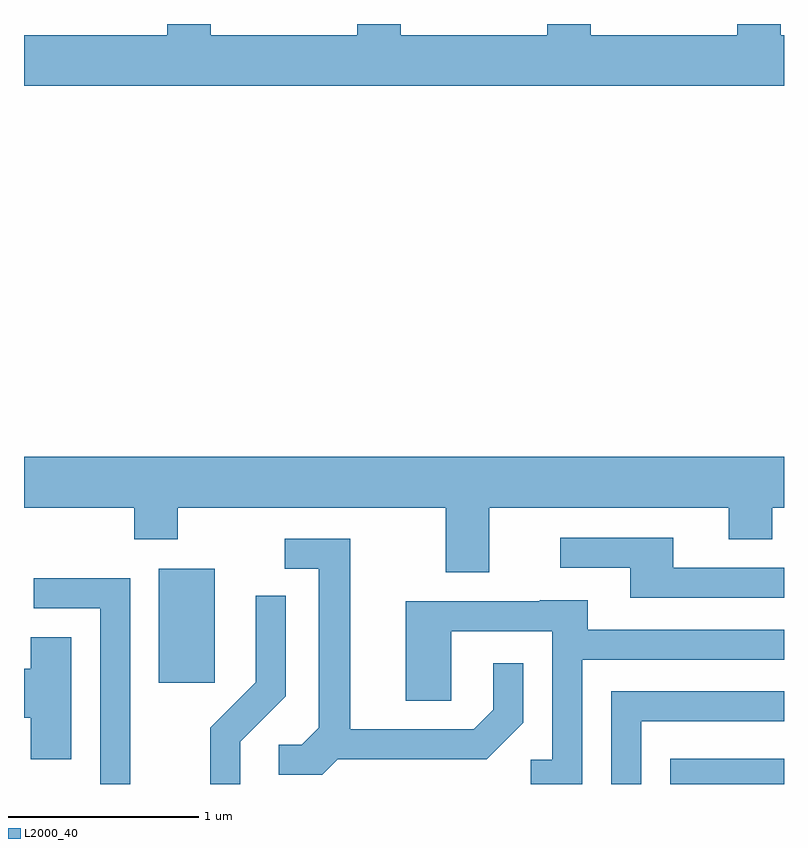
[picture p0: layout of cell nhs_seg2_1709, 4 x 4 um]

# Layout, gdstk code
import gdstk
lib = gdstk.Library(unit=1e-6, precision=1e-09)
def R(c, l, rs):  # rectangles x0, y0, x1, y1
    for r in rs: c.add(gdstk.rectangle(r[:2], r[2:], *l))
def P(c, l, *ps):  # polygons
    for p in ps: c.add(gdstk.Polygon(p, *l))
L2000_40 = (2000, 40)

nhs_seg2_1709 = lib.new_cell('nhs_seg2_1709')
R(nhs_seg2_1709, L2000_40, [(239.011,995.802,239.611,995.934), (236.321,996.336,236.614,996.934)])
P(nhs_seg2_1709, L2000_40, [(239.611,999.744),(239.594,999.744),(239.594,999.802),(239.366,999.802),(239.366,999.744),(238.594,999.744),(238.594,999.802),(238.366,999.802),(238.366,999.744),(237.594,999.744),(237.594,999.802),(237.366,999.802),(237.366,999.744),(236.594,999.744),(236.594,999.802),(236.366,999.802),(236.366,999.744),(235.611,999.744),(235.611,999.476),(239.611,999.476)],
  [(238.059,997.256),(239.321,997.256),(239.321,997.091),(239.549,997.091),(239.549,997.256),(239.611,997.256),(239.611,997.524),(235.611,997.524),(235.611,997.256),(236.191,997.256),(236.191,997.091),(236.419,997.091),(236.419,997.256),(237.831,997.256),(237.831,996.916),(238.059,996.916)],
  [(239.611,996.939),(239.029,996.939),(239.029,997.099),(238.433,997.099),(238.433,996.941),(238.801,996.941),(238.801,996.781),(239.611,996.781)],
  [(237.262,995.931),(238.047,995.931),(238.239,996.124),(238.239,996.438),(238.081,996.438),(238.081,996.192),(237.979,996.089),(237.329,996.089),(237.329,997.094),(236.983,997.094),(236.983,996.936),(237.161,996.936),(237.161,996.097),(237.074,996.009),(236.953,996.009),(236.953,995.851),(237.182,995.851)],
  [(236.169,996.884),(235.663,996.884),(235.663,996.726),(236.011,996.726),(236.011,995.802),(236.169,995.802)],
  [(236.749,996.024),(236.989,996.264),(236.989,996.793),(236.831,996.793),(236.831,996.337),(236.591,996.097),(236.591,995.802),(236.749,995.802)],
  [(238.549,996.456),(239.611,996.456),(239.611,996.614),(238.579,996.614),(238.579,996.769),(238.325,996.769),(238.325,996.764),(237.621,996.764),(237.621,996.241),(237.859,996.241),(237.859,996.606),(238.391,996.606),(238.391,995.929),(238.278,995.929),(238.278,995.802),(238.549,995.802)],
  [(235.859,996.574),(235.646,996.574),(235.646,996.409),(235.611,996.409),(235.611,996.151),(235.646,996.151),(235.646,995.931),(235.859,995.931)],
  [(238.859,996.131),(239.611,996.131),(239.611,996.289),(238.701,996.289),(238.701,995.802),(238.859,995.802)])

lib.write_gds('nhs_seg2_1709.gds')
